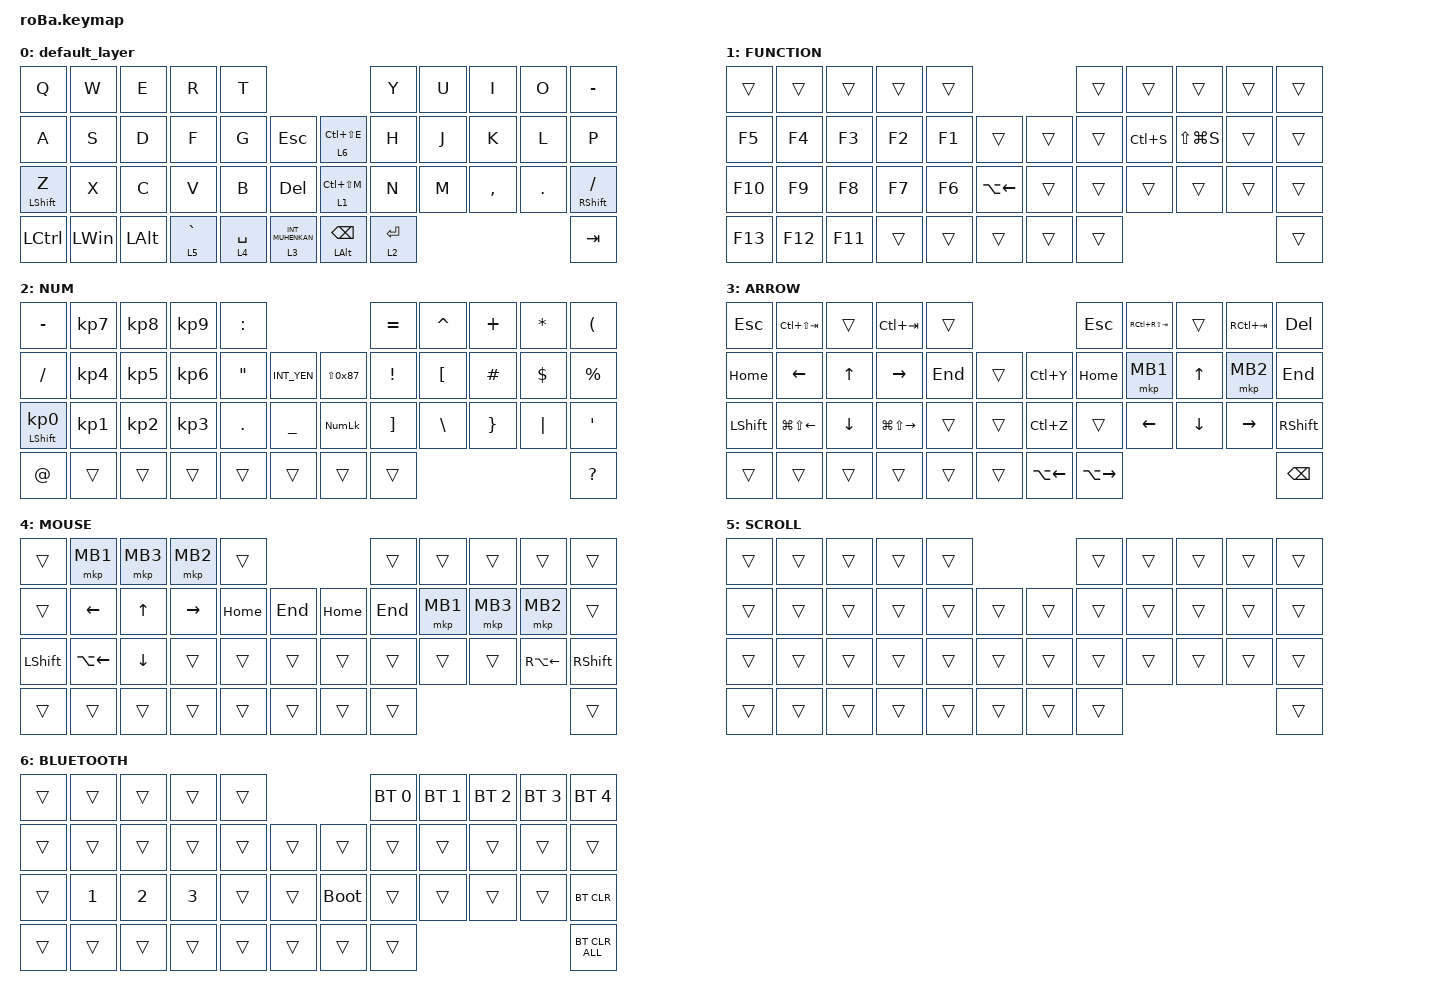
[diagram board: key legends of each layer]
#include <behaviors.dtsi>
#include <dt-bindings/zmk/bt.h>
#include <dt-bindings/zmk/keys.h>
#include <dt-bindings/zmk/pointing.h>

// OS設定を日本語キーボードのまま使用するための変換定義

#define JP_DQUOTE       AT                // "
#define JP_AMPERSAND    CARET             // &
#define JP_QUOTE        AMPERSAND         // '
#define JP_EQUAL        UNDER             // =
#define JP_CARET        EQUAL             // ^
#define JP_YEN          0x89              // ¥
#define JP_PLUS         COLON             // +
#define JP_TILDE        PLUS              // ~
#define JP_PIPE         LS(0x89)          // |
#define JP_AT           LEFT_BRACKET      // @
#define JP_COLON        SINGLE_QUOTE      // :
#define JP_ASTERISK     DOUBLE_QUOTES     // *
#define JP_BACKQUOTE    LEFT_BRACE        // `
#define JP_UNDERSCORE   LS(0x87)          // _
#define JP_LBRACKET     RIGHT_BRACKET     // [
#define JP_RBRACKET     BACKSLASH         // ]
#define JP_LPAREN       ASTERISK          // (
#define JP_RPAREN       LEFT_PARENTHESIS  // )
#define JP_LBRACE       RIGHT_BRACE       // {
#define JP_RBRACE       PIPE              // }
#define JP_KANA         LANGUAGE_1        // かな
#define JP_EISU         LANGUAGE_2        // 英数
#define JP_HANZEN       GRAVE             // 半角/全角

&mt {
    flavor = "balanced";
    quick-tap-ms = <175>;
    require-prior-idle-ms = <150>;
};

&kscan0 {
    debounce-press-ms = <10>;
    debounce-release-ms = <10>;
};

&trackball {
//    automouse-layer = <4>;
    scroll-layers = <5>;

    // arrows {
    //     layers = <3>;
    //     bindings =
    //         <&kp RIGHT_ARROW>,
    //         <&kp LEFT_ARROW>,
    //         <&kp UP_ARROW>,
    //         <&kp DOWN_ARROW>;
    //     tick = <10>;
    //     wait-ms = <5>;
    //     tap-ms = <5>;
    // };
};

/ {
    combos { compatible = "zmk,combos"; };

    macros {
        to_layer_0: to_layer_0 {
            compatible = "zmk,behavior-macro-one-param";
            #binding-cells = <1>;
            bindings = <&to 0 &macro_param_1to1 &kp MACRO_PLACEHOLDER>;
            label = "TO_LAYER_0";
        };
    };

    behaviors {
        lt_to_layer_0: lt_to_layer_0 {
            compatible = "zmk,behavior-hold-tap";
            label = "LAYER_TAP_TO_0";
            bindings = <&mo>, <&to_layer_0>;

            #binding-cells = <2>;
            flavor = "balanced";            // 追加：次のキーを「押して離す」まで終えた場合だけホールド
            tapping-term-ms = <200>;
            quick-tap-ms = <175>;           // 追加
            require-prior-idle-ms = <150>;  // 追加：直前150ms以内に打鍵があれば必ずタップ扱い
        };
        mt_shift: mt_shift {
            compatible = "zmk,behavior-hold-tap";
            #binding-cells = <2>;
            bindings = <&kp>, <&kp>;
            flavor = "balanced";
            tapping-term-ms = <200>;
            quick-tap-ms = <0>;
        };
        lt_fast: lt_fast {
            compatible = "zmk,behavior-hold-tap";
            #binding-cells = <2>;
            bindings = <&mo>, <&to_layer_0>;
            flavor = "hold-preferred";   // 他のキーを押した瞬間にレイヤー確定
            tapping-term-ms = <200>;
            quick-tap-ms = <0>;
        };
    };

    keymap {
        compatible = "zmk,keymap";

        default_layer {
            bindings = <
&kp Q                   &kp W         &kp E         &kp R                       &kp T                                                                                  &kp Y                   &kp U  &kp I      &kp O    &kp MINUS
&kp A                   &kp S         &kp D         &kp F                       &kp G                   &kp ESC                            &lt_to_layer_0 6 LC(LS(E))  &kp H                   &kp J  &kp K      &kp L    &kp P
&mt_shift LEFT_SHIFT Z  &kp X         &kp C         &kp V                       &kp B                   &kp DELETE                         &lt_to_layer_0 1 LC(LS(M))  &kp N                   &kp M  &kp COMMA  &kp DOT  &mt_shift RIGHT_SHIFT SLASH
&kp LCTRL               &kp LEFT_WIN  &kp LEFT_ALT  &lt_fast 5 JP_HANZEN        &lt_to_layer_0 4 SPACE  &lt_fast 3 INT_MUHENKAN            &mt LEFT_ALT BACKSPACE      &lt_fast 2 ENTER                                   &kp TAB
            >;
        };

        FUNCTION {
            bindings = <
&trans   &trans   &trans   &trans  &trans                                  &trans  &trans     &trans         &trans  &trans
&kp F5   &kp F4   &kp F3   &kp F2  &kp F1  &trans                  &trans  &trans  &kp LC(S)  &kp LS(LG(S))  &trans  &trans
&kp F10  &kp F9   &kp F8   &kp F7  &kp F6  &kp LA(LEFT_ARROW)      &trans  &trans  &trans     &trans         &trans  &trans
&kp F13  &kp F12  &kp F11  &trans  &trans  &trans                  &trans  &trans                                    &trans
            >;
        };

        NUM {
            bindings = <
&kp MINUS                         &kp KP_NUMBER_7  &kp KP_NUMBER_8  &kp KP_NUMBER_9  &kp JP_PLUS                                           &kp JP_CARET     &kp JP_AMPERSAND  &kp JP_TILDE   &kp JP_LPAREN  &kp JP_RPAREN
&kp SLASH                         &kp KP_NUMBER_4  &kp KP_NUMBER_5  &kp KP_NUMBER_6  &kp JP_ASTERISK  &kp INT_YEN       &kp JP_UNDERSCORE  &kp EXCLAMATION  &kp JP_AT         &kp HASH       &kp DOLLAR     &kp PERCENT
&mt_shift LEFT_SHIFT KP_NUMBER_0  &kp KP_NUMBER_1  &kp KP_NUMBER_2  &kp KP_NUMBER_3  &kp PERIOD       &kp JP_EQUAL      &kp KP_NUM         &kp JP_LBRACKET  &kp JP_RBRACKET   &kp JP_LBRACE  &kp JP_RBRACE  &kp JP_COLON
&kp JP_DQUOTE                     &trans           &trans           &trans           &trans           &trans            &trans             &trans                                                           &kp QUESTION
            >;
        };

        ARROW {
            bindings = <
&kp ESCAPE      &kp LC(LS(TAB))         &trans          &kp LC(TAB)              &trans                                   &kp ESC              &kp RC(RS(TAB))  &trans          &kp RC(TAB)      &kp DEL
&kp HOME        &kp LEFT_ARROW          &kp UP_ARROW    &kp RIGHT_ARROW          &kp END  &trans      &kp LC(Y)           &kp HOME             &mkp MB1         &kp UP_ARROW    &mkp MB2         &kp END
&kp LEFT_SHIFT  &kp LG(LS(LEFT_ARROW))  &kp DOWN_ARROW  &kp LG(LS(RIGHT_ARROW))  &trans   &trans      &kp LC(Z)           &trans               &kp LEFT_ARROW   &kp DOWN_ARROW  &kp RIGHT_ARROW  &kp RIGHT_SHIFT
&trans          &trans                  &trans          &trans                   &trans   &trans      &kp LA(LEFT_ARROW)  &kp LA(RIGHT_ARROW)                                                    &kp BACKSPACE
            >;
        };

        MOUSE {
            bindings = <
&trans          &mkp MB1            &mkp MB3      &mkp MB2         &trans                           &trans   &trans    &trans    &trans              &trans
&trans          &kp LEFT_ARROW      &kp UP_ARROW  &kp RIGHT_ARROW  &kp HOME  &kp END      &kp HOME  &kp END  &mkp MB1  &mkp MB3  &mkp MB2            &trans
&kp LEFT_SHIFT  &kp LA(LEFT_ARROW)  &kp DOWN      &trans           &trans    &trans       &trans    &trans   &trans    &trans    &kp RA(LEFT_ARROW)  &kp RIGHT_SHIFT
&trans          &trans              &trans        &trans           &trans    &trans       &trans    &trans                                           &trans
            >;
        };

        SCROLL {
            bindings = <
&trans  &trans  &trans  &trans  &trans                      &trans  &trans  &trans  &trans  &trans
&trans  &trans  &trans  &trans  &trans  &trans      &trans  &trans  &trans  &trans  &trans  &trans
&trans  &trans  &trans  &trans  &trans  &trans      &trans  &trans  &trans  &trans  &trans  &trans
&trans  &trans  &trans  &trans  &trans  &trans      &trans  &trans                          &trans
            >;
        };

        BLUETOOTH {
            bindings = <
&trans  &trans        &trans        &trans        &trans                           &bt BT_SEL 0  &bt BT_SEL 1  &bt BT_SEL 2  &bt BT_SEL 3  &bt BT_SEL 4
&trans  &trans        &trans        &trans        &trans  &trans      &trans       &trans        &trans        &trans        &trans        &trans
&trans  &kp NUMBER_1  &kp NUMBER_2  &kp NUMBER_3  &trans  &trans      &bootloader  &trans        &trans        &trans        &trans        &bt BT_CLR
&trans  &trans        &trans        &trans        &trans  &trans      &trans       &trans                                                  &bt BT_CLR_ALL
            >;
        };
    };
};
